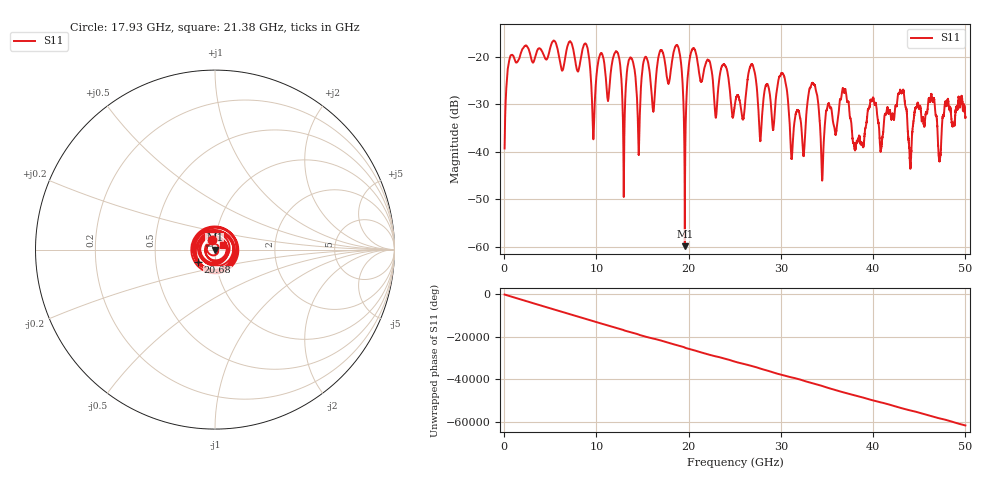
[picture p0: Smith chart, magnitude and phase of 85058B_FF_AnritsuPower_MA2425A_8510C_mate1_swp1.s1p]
!Created with skrf (http://scikit-rf.org).
# Hz S RI R 50.0
!freq ReS11 ImS11
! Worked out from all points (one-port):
!   10001 points, 45 MHz to 50 GHz, reference 50 ohm
!   lowest |S11| = -59.9 dB at 19.58 GHz (marker M1), VSWR 1.00, Z = 49.9 + j0.000315 ohm
!   |S11| at or under -10 dB: start of sweep to end of sweep
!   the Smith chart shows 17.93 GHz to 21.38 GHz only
!   S11 on the Smith chart (normalised r, x): 17.93 GHz: 0.96, +0.11; 20.68 GHz: 0.82, -0.12; 21.38 GHz: 1.10, +0.06
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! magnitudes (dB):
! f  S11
! 45 MHz  -39.3
! 779.3 MHz  -19.7
! 6.289 GHz  -23.0
! 8.862 GHz  -17.3
! 9.686 GHz  -37.0
! 10.42 GHz  -19.4
! 12.53 GHz  -21.2
! 12.97 GHz  -48.9
! 13.66 GHz  -20.2
! 14.57 GHz  -39.9
! 15.28 GHz  -20.1
! 17.93 GHz  -24.9
! 18.78 GHz  -17.7
! 19.58 GHz  -59.9
! 20.68 GHz  -18.6
! 21.38 GHz  -25.3
! 25.02 GHz  -30.0
! 26.85 GHz  -21.6
! 27.74 GHz  -37.4
! 29.16 GHz  -35.4
! 30.17 GHz  -23.5
! 31.27 GHz  -38.8
! 33.44 GHz  -25.5
! 34.48 GHz  -46.0
! 35.11 GHz  -30.0
! 37.51 GHz  -32.9
! 43.76 GHz  -35.8
! 50 GHz  -32.8
